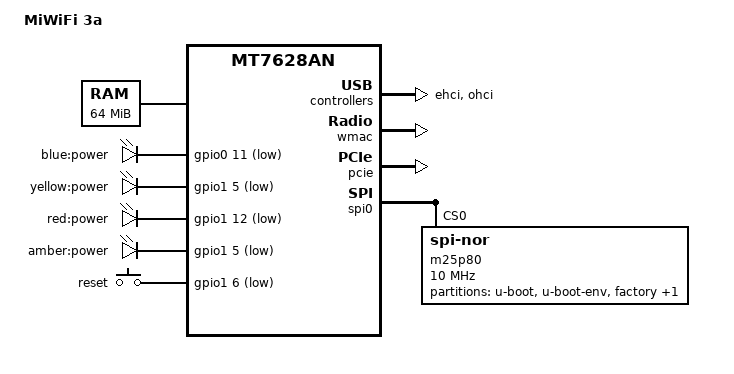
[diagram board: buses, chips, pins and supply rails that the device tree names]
/dts-v1/;

#include "mt7628an.dtsi"

#include <dt-bindings/gpio/gpio.h>
#include <dt-bindings/input/input.h>

/ {
	compatible = "xiaomi,miwifi-3a", "mediatek,mt7628an-soc";
	model = "MiWiFi 3a";

	aliases {
		led-boot = &led_power_amber;
		led-failsafe = &led_power_red;
		led-running = &led_power_blue;
		led-upgrade = &led_power_yellow;
		label-mac-device = &ethernet;
	};

	chosen {
		bootargs = "console=ttyS0,115200";
	};

	memory@0 {
		device_type = "memory";
		reg = <0x0 0x4000000>;
	};

	leds {
		compatible = "gpio-leds";
        
        led_power_blue: power_blue {
			label = "blue:power";
			gpios = <&gpio0 11 GPIO_ACTIVE_LOW>;
		};

		led_power_yellow: power_yellow {
			label = "yellow:power";
			gpios = <&gpio1 5 GPIO_ACTIVE_LOW>;
		};

		led_power_red: power_red {
			label = "red:power";
			gpios = <&gpio1 12 GPIO_ACTIVE_LOW>;
		};

		led_power_amber: power_amber {
			label = "amber:power";
			gpios = <&gpio1 5 GPIO_ACTIVE_LOW>;
		};

	};

	keys {
		compatible = "gpio-keys";

		reset {
			label = "reset";
			gpios = <&gpio1 6 GPIO_ACTIVE_LOW>;
			linux,code = <KEY_RESTART>;
		};
	};
};

&pinctrl {
	state_default: pinctrl0 {
		gpio {
			ralink,group = "gpio", "refclk", "wdt", "wled_an";
			ralink,function = "gpio";
		};
	};
};

&gpio0 {
	status = "okay";
};

&gpio1 {
	status = "okay";
};

&gpio2 {
	status = "okay";
};

&ehci {
	status = "okay";
};

&ohci {
	status = "okay";
};

&esw {
	mediatek,portmap = <0x3e>;
	mediatek,portdisable = <0x2a>;
};

&wmac {
	ralink,mtd-eeprom = <&factory 0>;
	pinctrl-names = "default";
	pinctrl-0 = <&pa_pins>;
};

&pcie {
	status = "okay";
};

&pcie0 {
	mt76@0,0 {
		reg = <0x0000 0 0 0 0>;
		mediatek,mtd-eeprom = <&factory 0x8000>;
		ieee80211-freq-limit = <5000000 6000000>;
	};
};

&ethernet {
	pinctrl-names = "default";
	pinctrl-0 = <&ephy_pins>;
	mtd-mac-address = <&factory 0x28>;
	mediatek,portmap = "llllw";
};

&spi0 {
	status = "okay";

	m25p80@0 {
		compatible = "jedec,spi-nor";
		reg = <0>;
		spi-max-frequency = <10000000>;

		partitions {
			compatible = "fixed-partitions";
			#address-cells = <1>;
			#size-cells = <1>;

			partition@0 {
				label = "u-boot";
				reg = <0x0 0x30000>;
				read-only;
			};

			partition@30000 {
				label = "u-boot-env";
				reg = <0x30000 0x10000>;
				read-only;
			};

			factory: partition@40000 {
				label = "factory";
				reg = <0x40000 0x10000>;
				read-only;
			};

			partition@50000 {
				compatible = "denx,uimage";
				label = "firmware";
				reg = <0x50000 0xfb0000>;
			};
		};
	};
};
